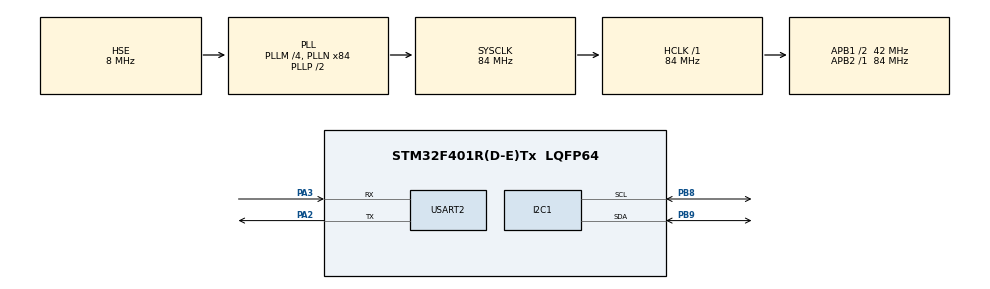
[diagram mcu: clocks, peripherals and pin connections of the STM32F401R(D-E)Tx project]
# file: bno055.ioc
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Mcu.Family=STM32F4
Mcu.Name=STM32F401R(D-E)Tx
Mcu.Package=LQFP64
NVIC.PriorityGroup=NVIC_PRIORITYGROUP_4
PA2.Mode=Asynchronous
PA2.Signal=USART2_TX
PA3.Mode=Asynchronous
PA3.Signal=USART2_RX
PB8.Mode=I2C
PB8.Signal=I2C1_SCL
PB9.Mode=I2C
PB9.Signal=I2C1_SDA
PH0\ -\ OSC_IN.Mode=HSE-External-Oscillator
PH0\ -\ OSC_IN.Signal=RCC_OSC_IN
PH1\ -\ OSC_OUT.Mode=HSE-External-Oscillator
PH1\ -\ OSC_OUT.Signal=RCC_OSC_OUT
ProjectManager.HeapSize=0x200
ProjectManager.StackSize=0x400
ProjectManager.TargetToolchain=STM32CubeIDE
RCC.48MHZClocksFreq_Value=42000000
RCC.AHBFreq_Value=84000000
RCC.APB1CLKDivider=RCC_HCLK_DIV2
RCC.APB1Freq_Value=42000000
RCC.APB1TimFreq_Value=84000000
RCC.APB2Freq_Value=84000000
RCC.APB2TimFreq_Value=84000000
RCC.CortexFreq_Value=84000000
RCC.HCLKFreq_Value=84000000
RCC.HSE_VALUE=8000000
RCC.HSI_VALUE=16000000
RCC.LSE_VALUE=32768
RCC.PLLM=4
RCC.PLLN=84
RCC.PLLSourceVirtual=RCC_PLLSOURCE_HSE
RCC.SYSCLKFreq_VALUE=84000000
RCC.SYSCLKSource=RCC_SYSCLKSOURCE_PLLCLK
RCC.VCOOutputFreq_Value=168000000
USART2.VirtualMode=VM_ASYNC
board=custom

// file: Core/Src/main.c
/* USER CODE BEGIN Header */
/**
  ******************************************************************************
  * @file           : main.c
  * @brief          : Main program body
  ******************************************************************************
  * @attention
  *
  * Copyright (c) 2026 STMicroelectronics.
  * All rights reserved.
  *
  * This software is licensed under terms that can be found in the LICENSE file
  * in the root directory of this software component.
  * If no LICENSE file comes with this software, it is provided AS-IS.
  *
  ******************************************************************************
  */
/* USER CODE END Header */
#include "main.h"

/* USER CODE BEGIN Includes */
#include <stdio.h>
#include <string.h>
/* USER CODE END Includes */

I2C_HandleTypeDef hi2c1;

UART_HandleTypeDef huart2;

/* USER CODE BEGIN PV */
uint8_t buffer[6];
int16_t raw_yaw, raw_roll, raw_pitch;
float yaw, roll, pitch;
/* USER CODE END PV */

void SystemClock_Config(void);
static void MX_GPIO_Init(void);
static void MX_I2C1_Init(void);
static void MX_USART2_UART_Init(void);

/* USER CODE BEGIN 0 */
int __io_putchar(int ch) {
    HAL_UART_Transmit(&huart2, (uint8_t *)&ch, 1, HAL_MAX_DELAY);
    return ch;
}
/* USER CODE END 0 */

int main(void)
{

  /* MCU Configuration--------------------------------------------------------*/

  /* Reset of all peripherals, Initializes the Flash interface and the Systick. */
  HAL_Init();

  /* Configure the system clock */
  SystemClock_Config();

  /* Initialize all configured peripherals */
  MX_GPIO_Init();
  MX_I2C1_Init();
  MX_USART2_UART_Init();
  /* USER CODE BEGIN 2 */
  uint8_t chip_id = 0;
  uint8_t bno_addr = (0x28 << 1);
  uint8_t op_mode_reg = 0x3D;
  uint8_t ndof_mode  = 0x0C;
  uint8_t config_mode = 0x00;
  uint8_t reset_val  = 0x20;
  uint8_t sys_trigger_reg = 0x3F;

  HAL_Delay(500);

  // 1. Reset
  HAL_I2C_Mem_Write(&hi2c1, bno_addr, sys_trigger_reg, 1, &reset_val, 1, 100);
  HAL_Delay(700); // Reset sonrası uzun bekleme (datasheet: min 650ms)

  // 2. Chip ID Kontrolü
  HAL_I2C_Mem_Read(&hi2c1, bno_addr, 0x00, 1, &chip_id, 1, 100);

  if (chip_id == 0xA0) {
      printf("BNO055 Algilandi! ID: 0x%02X\r\n", chip_id);

      // 3. Önce CONFIG moduna al (mod geçişi için zorunlu)
      HAL_I2C_Mem_Write(&hi2c1, bno_addr, op_mode_reg, 1, &config_mode, 1, 100);
      HAL_Delay(25); // Datasheet: min 19ms

      uint8_t imu_mode = 0x08;
      HAL_I2C_Mem_Write(&hi2c1, bno_addr, op_mode_reg, 1, &imu_mode, 1, 100);
      HAL_Delay(20);// Datasheet: min 7ms

      printf("NDOF modu aktif.\r\n");
  } else {
      printf("HATA: Sensör bulunamadi! ID: 0x%02X\r\n", chip_id);
      Error_Handler();
  }
  /* USER CODE END 2 */

  /* Infinite loop */
  /* USER CODE BEGIN WHILE */
  while (1)
  {
      // Kalibrasyon durumunu oku (0x35)
	  uint8_t calib = 0;
	     HAL_I2C_Mem_Read(&hi2c1, bno_addr, 0x35, 1, &calib, 1, 100);

	     uint8_t sys_cal  = (calib >> 6) & 0x03;
	     uint8_t gyro_cal = (calib >> 4) & 0x03;
	     uint8_t acc_cal  = (calib >> 2) & 0x03;
	     uint8_t mag_cal  =  calib       & 0x03;

	     printf("Cal -> Sys:%d Gyro:%d Acc:%d Mag:%d\r\n",
	             sys_cal, gyro_cal, acc_cal, mag_cal);

	     HAL_Delay(200);
      // Euler açıları oku (0x1A)
      if (HAL_I2C_Mem_Read(&hi2c1, bno_addr, 0x1A, 1, buffer, 6, 100) == HAL_OK) {
          raw_yaw   = (int16_t)((buffer[1] << 8) | buffer[0]);
          raw_roll  = (int16_t)((buffer[3] << 8) | buffer[2]);
          raw_pitch = (int16_t)((buffer[5] << 8) | buffer[4]);

          yaw   = (float)raw_yaw   / 16.0f;
          roll  = (float)raw_roll  / 16.0f;
          pitch = (float)raw_pitch / 16.0f;

          printf("Yaw: %6.2f | Roll: %6.2f | Pitch: %6.2f | Cal(S/G/A/M): %d/%d/%d/%d\r\n",
                 yaw, roll, pitch, sys_cal, gyro_cal, acc_cal, mag_cal);
      } else {
          printf("I2C okuma hatasi!\r\n");
      }

      HAL_Delay(100); // 10Hz // 10Hz okuma hızı (Sistemine göre artırabilirsin)

        /* USER CODE END WHILE */

  }
}

void SystemClock_Config(void)
{
  RCC_OscInitTypeDef RCC_OscInitStruct = {0};
  RCC_ClkInitTypeDef RCC_ClkInitStruct = {0};

  /** Configure the main internal regulator output voltage
  */
  __HAL_RCC_PWR_CLK_ENABLE();
  __HAL_PWR_VOLTAGESCALING_CONFIG(PWR_REGULATOR_VOLTAGE_SCALE2);

  /** Initializes the RCC Oscillators according to the specified parameters
  * in the RCC_OscInitTypeDef structure.
  */
  RCC_OscInitStruct.OscillatorType = RCC_OSCILLATORTYPE_HSE;
  RCC_OscInitStruct.HSEState = RCC_HSE_ON;
  RCC_OscInitStruct.PLL.PLLState = RCC_PLL_ON;
  RCC_OscInitStruct.PLL.PLLSource = RCC_PLLSOURCE_HSE;
  RCC_OscInitStruct.PLL.PLLM = 4;
  RCC_OscInitStruct.PLL.PLLN = 84;
  RCC_OscInitStruct.PLL.PLLP = RCC_PLLP_DIV2;
  RCC_OscInitStruct.PLL.PLLQ = 4;
  if (HAL_RCC_OscConfig(&RCC_OscInitStruct) != HAL_OK)
  {
    Error_Handler();
  }

  /** Initializes the CPU, AHB and APB buses clocks
  */
  RCC_ClkInitStruct.ClockType = RCC_CLOCKTYPE_HCLK|RCC_CLOCKTYPE_SYSCLK
                              |RCC_CLOCKTYPE_PCLK1|RCC_CLOCKTYPE_PCLK2;
  RCC_ClkInitStruct.SYSCLKSource = RCC_SYSCLKSOURCE_PLLCLK;
  RCC_ClkInitStruct.AHBCLKDivider = RCC_SYSCLK_DIV1;
  RCC_ClkInitStruct.APB1CLKDivider = RCC_HCLK_DIV2;
  RCC_ClkInitStruct.APB2CLKDivider = RCC_HCLK_DIV1;

  if (HAL_RCC_ClockConfig(&RCC_ClkInitStruct, FLASH_LATENCY_2) != HAL_OK)
  {
    Error_Handler();
  }
}

static void MX_I2C1_Init(void)
{

  hi2c1.Instance = I2C1;
  hi2c1.Init.ClockSpeed = 100000;
  hi2c1.Init.DutyCycle = I2C_DUTYCYCLE_2;
  hi2c1.Init.OwnAddress1 = 0;
  hi2c1.Init.AddressingMode = I2C_ADDRESSINGMODE_7BIT;
  hi2c1.Init.DualAddressMode = I2C_DUALADDRESS_DISABLE;
  hi2c1.Init.OwnAddress2 = 0;
  hi2c1.Init.GeneralCallMode = I2C_GENERALCALL_DISABLE;
  hi2c1.Init.NoStretchMode = I2C_NOSTRETCH_DISABLE;
  if (HAL_I2C_Init(&hi2c1) != HAL_OK)
  {
    Error_Handler();
  }

}

static void MX_USART2_UART_Init(void)
{

  huart2.Instance = USART2;
  huart2.Init.BaudRate = 115200;
  huart2.Init.WordLength = UART_WORDLENGTH_8B;
  huart2.Init.StopBits = UART_STOPBITS_1;
  huart2.Init.Parity = UART_PARITY_NONE;
  huart2.Init.Mode = UART_MODE_TX_RX;
  huart2.Init.HwFlowCtl = UART_HWCONTROL_NONE;
  huart2.Init.OverSampling = UART_OVERSAMPLING_16;
  if (HAL_UART_Init(&huart2) != HAL_OK)
  {
    Error_Handler();
  }

}

static void MX_GPIO_Init(void)
{

  /* GPIO Ports Clock Enable */
  __HAL_RCC_GPIOH_CLK_ENABLE();
  __HAL_RCC_GPIOA_CLK_ENABLE();
  __HAL_RCC_GPIOB_CLK_ENABLE();

}

void Error_Handler(void)
{
  __disable_irq();
  while (1)
  {
  }
}
